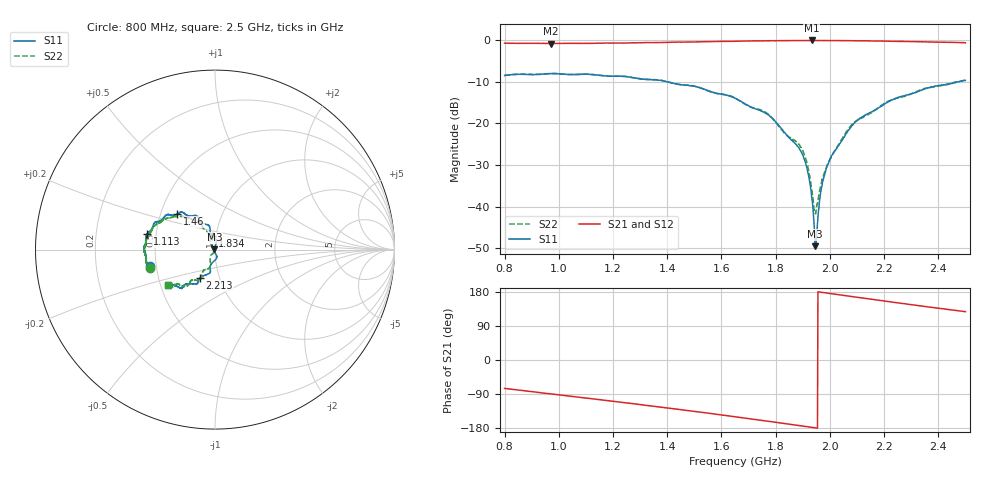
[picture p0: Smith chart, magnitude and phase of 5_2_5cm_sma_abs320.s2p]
!Keysight Technologies N9950B: A.12.38
!Date: Tuesday, 02 May 2023 21:27:43
!Timezone: (UTC-06:00) Central Time (US & Canada)
!Model: N9950B
!Serial: MY61131330
!GPS Latitude:
!GPS Longitude:
!GPS TimeStamp: 0001-01-01 00:00:00Z
!GPS Seconds Since Last Read: 0
!CHECKSUM:2117032658
!Correction: S11(ON U)S21(ON U)S12(ON U)S22(ON U)
!S2P File: Measurements:S11,S21,S12,S22:
# Hz S DB R 50
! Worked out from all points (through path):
!   1001 points, 800 MHz to 2.5 GHz, reference 50 ohm
!   highest |S21| = -0.08 dB at 1.934 GHz (marker M1); lowest = -0.8 dB at 970 MHz (marker M2)
!   group delay of S21, straight-line fit = 261 ps
!   lowest |S11| = -49.5 dB at 1.946 GHz (marker M3), VSWR 1.01, Z = 49.7 + j0.131 ohm
!   |S11| at or under -10 dB: 1.401 GHz to 2.476 GHz (1.076 GHz wide, 55.5 % of centre)
!   |S22| runs from -41.7 to -8.0 dB; largest |S21 - S12| = 0.0064
!   S11 on the Smith chart (normalised r, x): 800 MHz: 0.46, -0.10; 1.113 GHz: 0.45, +0.09; 1.46 GHz: 0.61, +0.26; 1.834 GHz: 0.96, +0.15; 2.213 GHz: 0.81, -0.26; 2.5 GHz: 0.55, -0.24
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8e8  -8.49 -165.6  -0.74 -75.0  -0.73 -75.0  -8.46 -164.1
9.7e8  -8.04 179.2  -0.82 -89.3  -0.82 -89.4  -8.02 -178.0
1.0839e9  -8.22 169.5  -0.78 -99.1  -0.80 -99.1  -8.23 172.6
1.1128e9  -8.24 166.9  -0.76 -101.5  -0.79 -101.5  -8.22 170.5
1.3678e9  -9.63 144.1  -0.59 -123.5  -0.61 -123.6  -9.66 149.4
1.4596e9  -10.76 136.6  -0.47 -132.0  -0.47 -132.0  -10.74 140.4
1.65e9  -13.93 117.7  -0.27 -149.7  -0.28 -149.7  -13.96 125.8
1.7673e9  -17.71 103.1  -0.18 -161.2  -0.21 -161.1  -17.54 118.2
1.8336e9  -22.20 101.8  -0.13 -167.8  -0.14 -167.8  -22.42 108.8
1.9016e9  -27.73 78.3  -0.09 -174.7  -0.14 -174.4  -26.76 123.3
1.922e9  -32.70 84.5  -0.10 -176.6  -0.11 -176.6  -31.37 129.1
1.9339e9  -38.24 96.5  -0.08 -177.8  -0.12 -177.7  -36.24 141.7
1.9407e9  -43.88 116.9  -0.10 -178.4  -0.13 -178.4  -39.78 167.3
1.9458e9  -49.48 156.9  -0.11 -178.9  -0.11 -178.9  -41.41 -169.8
1.9526e9  -45.57 -129.1  -0.11 -179.6  -0.13 -179.6  -39.33 -135.4
1.9645e9  -37.40 -94.7  -0.10 179.2  -0.12 179.1  -35.61 -117.9
1.9747e9  -33.70 -84.2  -0.12 178.2  -0.11 178.1  -33.14 -118.5
2.0104e9  -27.39 -74.6  -0.11 174.6  -0.13 174.6  -27.44 -125.9
2.0869e9  -20.24 -106.1  -0.16 166.9  -0.17 166.9  -19.90 -105.7
2.2127e9  -14.94 -118.3  -0.27 154.6  -0.28 154.5  -14.77 -116.3
2.2178e9  -14.71 -118.4  -0.27 154.0  -0.29 153.9  -14.62 -116.4
2.5e9  -9.67 -142.9  -0.64 127.6  -0.66 127.6  -9.69 -142.7
